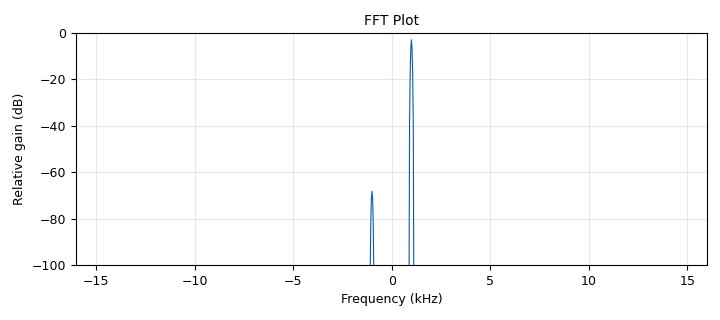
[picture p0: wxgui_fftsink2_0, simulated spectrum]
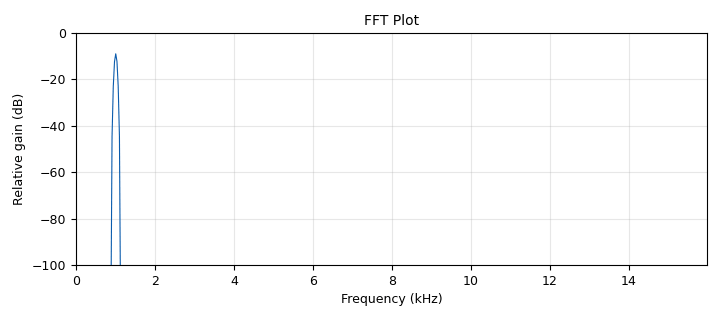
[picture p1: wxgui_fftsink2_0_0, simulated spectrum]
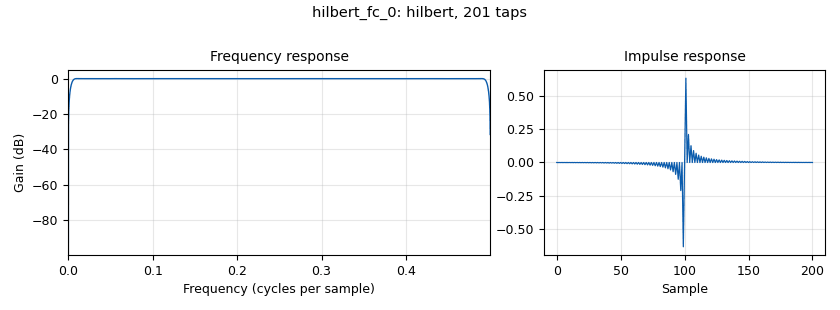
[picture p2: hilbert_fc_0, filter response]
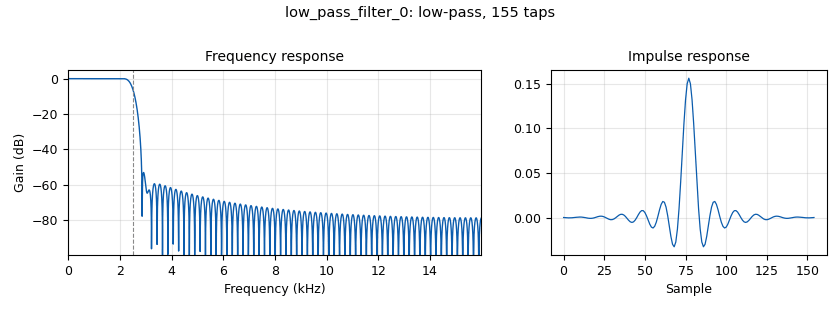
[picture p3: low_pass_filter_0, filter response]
<?xml version='1.0' encoding='utf-8'?>
<?grc format='1' created='3.7.11'?>
<flow_graph>
<block>
<key>options</key>
<param><key>id</key><value>ssb_tx</value></param>
<param><key>generate_options</key><value>wx_gui</value></param>
</block>
<block>
<key>variable_text_box</key>
<param><key>id</key><value>frequency</value></param>
<param><key>converver</key><value>float_converter</value></param>
<param><key>value</key><value>50.2e6</value></param>
<param><key>formatter</key><value>None</value></param>
<param><key>grid_pos</key><value>0,0,1,1</value></param>
<param><key>label</key><value></value></param>
</block>
<block>
<key>variable</key>
<param><key>id</key><value>samp_rate</value></param>
<param><key>value</key><value>32000</value></param>
</block>
<block>
<key>analog_sig_source_x</key>
<param><key>id</key><value>analog_sig_source_x_0</value></param>
<param><key>amp</key><value>1</value></param>
<param><key>freq</key><value>1000</value></param>
<param><key>offset</key><value>0</value></param>
<param><key>type</key><value>float</value></param>
<param><key>samp_rate</key><value>samp_rate</value></param>
<param><key>waveform</key><value>analog.GR_COS_WAVE</value></param>
</block>
<block>
<key>analog_sig_source_x</key>
<param><key>id</key><value>analog_sig_source_x_0_0</value></param>
<param><key>amp</key><value>1</value></param>
<param><key>_enabled</key><value>0</value></param>
<param><key>freq</key><value>100e3</value></param>
<param><key>offset</key><value>0</value></param>
<param><key>type</key><value>complex</value></param>
<param><key>samp_rate</key><value>samp_rate*100</value></param>
<param><key>waveform</key><value>analog.GR_COS_WAVE</value></param>
</block>
<block>
<key>audio_source</key>
<param><key>id</key><value>audio_source_0</value></param>
<param><key>_enabled</key><value>0</value></param>
<param><key>samp_rate</key><value>samp_rate</value></param>
</block>
<block>
<key>blocks_add_const_vxx</key>
<param><key>id</key><value>blocks_add_const_vxx_0</value></param>
<param><key>const</key><value>0</value></param>
<param><key>type</key><value>complex</value></param>
</block>
<block>
<key>blocks_conjugate_cc</key>
<param><key>id</key><value>blocks_conjugate_cc_0</value></param>
<param><key>_enabled</key><value>0</value></param>
</block>
<block>
<key>blocks_multiply_xx</key>
<param><key>id</key><value>blocks_multiply_xx_0</value></param>
<param><key>_enabled</key><value>0</value></param>
<param><key>type</key><value>complex</value></param>
</block>
<block>
<key>blocks_throttle</key>
<param><key>id</key><value>blocks_throttle_0</value></param>
<param><key>samples_per_second</key><value>samp_rate</value></param>
<param><key>type</key><value>float</value></param>
</block>
<block>
<key>blocks_wavfile_source</key>
<param><key>id</key><value>blocks_wavfile_source_0_1</value></param>
<param><key>_enabled</key><value>0</value></param>
<param><key>file</key><value>pseudo-32k.wav</value></param>
<param><key>repeat</key><value>True</value></param>
</block>
<block>
<key>hilbert_fc</key>
<param><key>id</key><value>hilbert_fc_0</value></param>
<param><key>num_taps</key><value>200</value></param>
<param><key>win</key><value>firdes.WIN_HAMMING</value></param>
</block>
<block>
<key>low_pass_filter</key>
<param><key>id</key><value>low_pass_filter_0</value></param>
<param><key>cutoff_freq</key><value>2500</value></param>
<param><key>decim</key><value>1</value></param>
<param><key>type</key><value>fir_filter_fff</value></param>
<param><key>gain</key><value>1</value></param>
<param><key>samp_rate</key><value>samp_rate</value></param>
<param><key>width</key><value>500</value></param>
<param><key>win</key><value>firdes.WIN_HAMMING</value></param>
</block>
<block>
<key>osmosdr_sink</key>
<param><key>id</key><value>osmosdr_sink_0</value></param>
<param><key>bb_gain0</key><value>20</value></param>
<param><key>corr0</key><value>9.5</value></param>
<param><key>freq0</key><value>frequency</value></param>
<param><key>if_gain0</key><value>20</value></param>
<param><key>gain0</key><value>10</value></param>
<param><key>args</key><value></value></param>
<param><key>type</key><value>fc32</value></param>
<param><key>sample_rate</key><value>samp_rate*100</value></param>
<param><key>sync</key><value></value></param>
</block>
<block>
<key>rational_resampler_xxx</key>
<param><key>id</key><value>rational_resampler_xxx_0</value></param>
<param><key>decim</key><value>1</value></param>
<param><key>interp</key><value>100</value></param>
<param><key>taps</key><value></value></param>
<param><key>type</key><value>ccc</value></param>
</block>
<block>
<key>wxgui_fftsink2</key>
<param><key>id</key><value>wxgui_fftsink2_0</value></param>
<param><key>avg_alpha</key><value>0</value></param>
<param><key>average</key><value>True</value></param>
<param><key>baseband_freq</key><value>0</value></param>
<param><key>fft_size</key><value>1024</value></param>
<param><key>freqvar</key><value>None</value></param>
<param><key>grid_pos</key><value>2,0,1,1</value></param>
<param><key>peak_hold</key><value>False</value></param>
<param><key>ref_level</key><value>0</value></param>
<param><key>ref_scale</key><value>2.0</value></param>
<param><key>fft_rate</key><value>15</value></param>
<param><key>samp_rate</key><value>samp_rate</value></param>
<param><key>title</key><value>FFT Plot</value></param>
<param><key>type</key><value>complex</value></param>
<param><key>win</key><value>None</value></param>
<param><key>y_divs</key><value>10</value></param>
<param><key>y_per_div</key><value>10</value></param>
</block>
<block>
<key>wxgui_fftsink2</key>
<param><key>id</key><value>wxgui_fftsink2_0_0</value></param>
<param><key>avg_alpha</key><value>0</value></param>
<param><key>average</key><value>True</value></param>
<param><key>baseband_freq</key><value>0</value></param>
<param><key>fft_size</key><value>1024</value></param>
<param><key>freqvar</key><value>None</value></param>
<param><key>grid_pos</key><value>1,0,1,1</value></param>
<param><key>peak_hold</key><value>True</value></param>
<param><key>ref_level</key><value>0</value></param>
<param><key>ref_scale</key><value>2.0</value></param>
<param><key>fft_rate</key><value>15</value></param>
<param><key>samp_rate</key><value>samp_rate</value></param>
<param><key>title</key><value>FFT Plot</value></param>
<param><key>type</key><value>float</value></param>
<param><key>win</key><value>None</value></param>
<param><key>y_divs</key><value>10</value></param>
<param><key>y_per_div</key><value>10</value></param>
</block>
<block>
<key>wxgui_scopesink2</key>
<param><key>id</key><value>wxgui_scopesink2_0</value></param>
<param><key>ac_couple</key><value>False</value></param>
<param><key>_enabled</key><value>0</value></param>
<param><key>num_inputs</key><value>1</value></param>
<param><key>samp_rate</key><value>samp_rate*100</value></param>
<param><key>t_scale</key><value>0.002</value></param>
<param><key>title</key><value>Scope Plot</value></param>
<param><key>trig_mode</key><value>wxgui.TRIG_MODE_AUTO</value></param>
<param><key>type</key><value>complex</value></param>
<param><key>v_offset</key><value>0</value></param>
<param><key>v_scale</key><value>0</value></param>
<param><key>xy_mode</key><value>False</value></param>
<param><key>y_axis_label</key><value>Counts</value></param>
</block>
<block>
<key>wxgui_scopesink2</key>
<param><key>id</key><value>wxgui_scopesink2_0_0</value></param>
<param><key>ac_couple</key><value>False</value></param>
<param><key>_enabled</key><value>0</value></param>
<param><key>num_inputs</key><value>1</value></param>
<param><key>samp_rate</key><value>samp_rate</value></param>
<param><key>t_scale</key><value>0</value></param>
<param><key>title</key><value>Scope Plot</value></param>
<param><key>trig_mode</key><value>wxgui.TRIG_MODE_AUTO</value></param>
<param><key>type</key><value>float</value></param>
<param><key>v_offset</key><value>0</value></param>
<param><key>v_scale</key><value>0</value></param>
<param><key>xy_mode</key><value>False</value></param>
<param><key>y_axis_label</key><value>Counts</value></param>
</block>
<connection><source_block_id>analog_sig_source_x_0</source_block_id><sink_block_id>blocks_throttle_0</sink_block_id><source_key>0</source_key><sink_key>0</sink_key></connection>
<connection><source_block_id>analog_sig_source_x_0_0</source_block_id><sink_block_id>blocks_multiply_xx_0</sink_block_id><source_key>0</source_key><sink_key>1</sink_key></connection>
<connection><source_block_id>audio_source_0</source_block_id><sink_block_id>low_pass_filter_0</sink_block_id><source_key>0</source_key><sink_key>0</sink_key></connection>
<connection><source_block_id>blocks_add_const_vxx_0</source_block_id><sink_block_id>rational_resampler_xxx_0</sink_block_id><source_key>0</source_key><sink_key>0</sink_key></connection>
<connection><source_block_id>blocks_add_const_vxx_0</source_block_id><sink_block_id>wxgui_fftsink2_0</sink_block_id><source_key>0</source_key><sink_key>0</sink_key></connection>
<connection><source_block_id>blocks_conjugate_cc_0</source_block_id><sink_block_id>rational_resampler_xxx_0</sink_block_id><source_key>0</source_key><sink_key>0</sink_key></connection>
<connection><source_block_id>blocks_conjugate_cc_0</source_block_id><sink_block_id>wxgui_fftsink2_0</sink_block_id><source_key>0</source_key><sink_key>0</sink_key></connection>
<connection><source_block_id>blocks_multiply_xx_0</source_block_id><sink_block_id>wxgui_scopesink2_0</sink_block_id><source_key>0</source_key><sink_key>0</sink_key></connection>
<connection><source_block_id>blocks_throttle_0</source_block_id><sink_block_id>low_pass_filter_0</sink_block_id><source_key>0</source_key><sink_key>0</sink_key></connection>
<connection><source_block_id>blocks_wavfile_source_0_1</source_block_id><sink_block_id>blocks_throttle_0</sink_block_id><source_key>0</source_key><sink_key>0</sink_key></connection>
<connection><source_block_id>hilbert_fc_0</source_block_id><sink_block_id>blocks_add_const_vxx_0</sink_block_id><source_key>0</source_key><sink_key>0</sink_key></connection>
<connection><source_block_id>hilbert_fc_0</source_block_id><sink_block_id>blocks_conjugate_cc_0</sink_block_id><source_key>0</source_key><sink_key>0</sink_key></connection>
<connection><source_block_id>low_pass_filter_0</source_block_id><sink_block_id>hilbert_fc_0</sink_block_id><source_key>0</source_key><sink_key>0</sink_key></connection>
<connection><source_block_id>low_pass_filter_0</source_block_id><sink_block_id>wxgui_fftsink2_0_0</sink_block_id><source_key>0</source_key><sink_key>0</sink_key></connection>
<connection><source_block_id>low_pass_filter_0</source_block_id><sink_block_id>wxgui_scopesink2_0_0</sink_block_id><source_key>0</source_key><sink_key>0</sink_key></connection>
<connection><source_block_id>rational_resampler_xxx_0</source_block_id><sink_block_id>blocks_multiply_xx_0</sink_block_id><source_key>0</source_key><sink_key>0</sink_key></connection>
<connection><source_block_id>rational_resampler_xxx_0</source_block_id><sink_block_id>osmosdr_sink_0</sink_block_id><source_key>0</source_key><sink_key>0</sink_key></connection>
</flow_graph>
